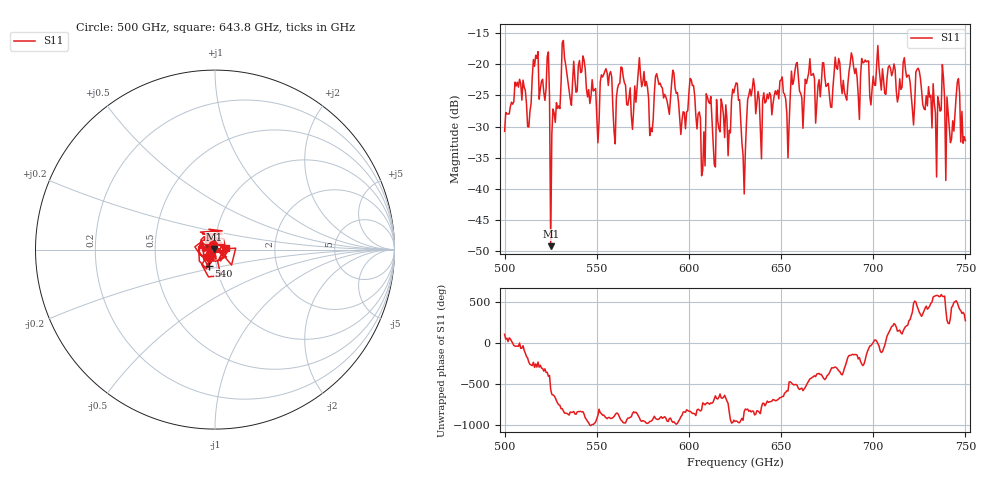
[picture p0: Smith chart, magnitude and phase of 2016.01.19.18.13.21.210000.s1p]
!Created with skrf (http://scikit-rf.org).
# GHz S RI R 50.0
!freq ReS11 ImS11
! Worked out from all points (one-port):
!   401 points, 500 GHz to 750 GHz, reference 50 ohm
!   lowest |S11| = -49.3 dB at 525 GHz (marker M1), VSWR 1.01, Z = 49.7 + j0.138 ohm
!   |S11| at or under -10 dB: start of sweep to end of sweep
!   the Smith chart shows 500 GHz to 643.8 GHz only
!   S11 on the Smith chart (normalised r, x): 500 GHz: 0.98, +0.05; 540 GHz: 0.92, -0.17; 643.8 GHz: 1.12, +0.02
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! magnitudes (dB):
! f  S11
! 500 GHz  -30.8
! 506.9 GHz  -22.9
! 513.1 GHz  -30.1
! 516.9 GHz  -18.5
! 525 GHz  -49.3
! 531.2 GHz  -16.5
! 540 GHz  -20.2
! 560 GHz  -32.8
! 562.5 GHz  -23.1
! 574.4 GHz  -23.6
! 579.4 GHz  -30.2
! 583.1 GHz  -22.3
! 593.8 GHz  -24.5
! 601.9 GHz  -23.4
! 607.5 GHz  -37.0
! 610.6 GHz  -26.0
! 614.4 GHz  -36.5
! 625 GHz  -23.6
! 629.4 GHz  -34.6
! 633.8 GHz  -25.1
! 643.8 GHz  -24.5
! 653.8 GHz  -35.1
! 656.2 GHz  -23.2
! 687.5 GHz  -19.9
! 718.8 GHz  -21.7
! 740.6 GHz  -27.8
! 745.6 GHz  -22.8
! 750 GHz  -32.3
